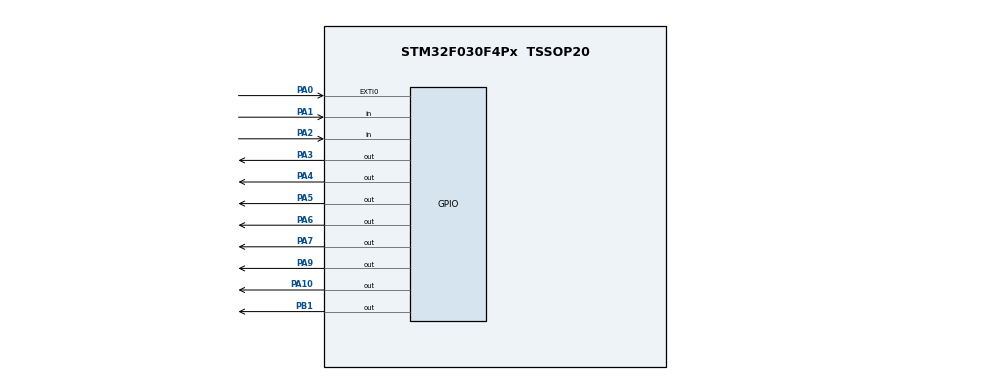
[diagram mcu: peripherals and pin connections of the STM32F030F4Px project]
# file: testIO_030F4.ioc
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Mcu.Family=STM32F0
Mcu.Name=STM32F030F4Px
Mcu.Package=TSSOP20
NVIC.EXTI0_1_IRQn=true\:0\:0\:false\:false\:true\:true\:true
NVIC.RCC_IRQn=true\:0\:0\:false\:false\:true\:true\:false
NVIC.TIM14_IRQn=true\:0\:0\:false\:false\:true\:true\:true
NVIC.TIM3_IRQn=true\:0\:0\:false\:false\:true\:true\:true
PA0.GPIO_ModeDefaultEXTI=GPIO_MODE_IT_RISING
PA0.Signal=GPXTI0
PA1.GPIO_PuPd=GPIO_PULLDOWN
PA1.Signal=GPIO_Input
PA10.PinState=GPIO_PIN_SET
PA10.Signal=GPIO_Output
PA13.Mode=Serial_Wire
PA13.Signal=SYS_SWDIO
PA14.Mode=Serial_Wire
PA14.Signal=SYS_SWCLK
PA2.GPIO_PuPd=GPIO_PULLDOWN
PA2.Signal=GPIO_Input
PA3.PinState=GPIO_PIN_SET
PA3.Signal=GPIO_Output
PA4.PinState=GPIO_PIN_SET
PA4.Signal=GPIO_Output
PA5.PinState=GPIO_PIN_SET
PA5.Signal=GPIO_Output
PA6.PinState=GPIO_PIN_SET
PA6.Signal=GPIO_Output
PA7.PinState=GPIO_PIN_SET
PA7.Signal=GPIO_Output
PA9.PinState=GPIO_PIN_SET
PA9.Signal=GPIO_Output
PB1.PinState=GPIO_PIN_SET
PB1.Signal=GPIO_Output
PF0-OSC_IN.Mode=HSE-External-Oscillator
PF0-OSC_IN.Signal=RCC_OSC_IN
PF1-OSC_OUT.Mode=HSE-External-Oscillator
PF1-OSC_OUT.Signal=RCC_OSC_OUT
ProjectManager.HeapSize=0x200
ProjectManager.StackSize=0x400
ProjectManager.TargetToolchain=STM32CubeIDE
TIM14.Period=999
TIM14.Prescaler=8000
TIM3.Period=9
TIM3.Prescaler=800
VP_TIM14_VS_ClockSourceINT.Mode=Enable_Timer
VP_TIM3_VS_ClockSourceINT.Mode=Internal
board=custom

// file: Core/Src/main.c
/* USER CODE BEGIN Header */
/**
  ******************************************************************************
  * @file           : main.c
  * @brief          : Main program body
  ******************************************************************************
  * @attention
  *
  * <h2><center>&copy; Copyright (c) 2020 STMicroelectronics.
  * All rights reserved.</center></h2>
  *
  * This software component is licensed by ST under BSD 3-Clause license,
  * the "License"; You may not use this file except in compliance with the
  * License. You may obtain a copy of the License at:
  *                        opensource.org/licenses/BSD-3-Clause
  *
  ******************************************************************************
  */
/* USER CODE END Header */

#include "main.h"

/* USER CODE BEGIN Includes */
#include "controller.h"
/* USER CODE END Includes */

TIM_HandleTypeDef htim3;
TIM_HandleTypeDef htim14;

/* USER CODE BEGIN PV */
extern uint8_t CLR_Button_flag;
extern uint8_t Pump_Status_flag;
extern uint8_t Input_Water_flag;
extern uint8_t CLR_PP1_flag;
extern uint8_t CLR_UDF_flag;
extern uint8_t CLR_PP2_flag;
extern uint8_t CLR_Ro_flag;
extern uint8_t machine_erro_flag;
extern uint8_t machine_out_timer1_flag;
extern uint8_t machine_out_timer2_flag;
extern uint8_t PP_out_timer_flag;
extern uint8_t UDF_out_timer_flag;
extern uint8_t PP2_out_timer_flag;
extern uint8_t Ro_out_timer_flag;
extern uint8_t machine_out_flag;
extern uint8_t Writte_data_fillter_flag;
extern uint8_t Led_tank_full_on_flag;
extern uint8_t Led_tank_full_off_flag;
extern uint8_t led_water_input_on_flag;
extern uint8_t led_water_input_off_flag;
extern uint8_t time_on_Input_Water_flag;
extern uint8_t time_on_Machine_out_flag;
extern uint8_t time_on_PP_flag;
extern uint8_t time_on_UDF_flag;
extern uint8_t time_on_PP2_flag;
extern uint8_t time_on_Ro_flag;
extern uint8_t led_fillter_flag;
uint8_t lock_led_erro;
uint8_t led_fan_action_cnt;

extern uint8_t Clr_Button_trigger;
extern uint8_t time_on_PP_out_trigger;
extern uint8_t time_on_UDF_out_trigger;
extern uint8_t time_on_PP2_out_trigger;
extern uint8_t time_on_Ro_out_trigger;
extern uint8_t dislay_erro_lock_trigger;
extern uint8_t	dislay_erro_lock_flag;
extern uint8_t watch_Dog_Trigger;
extern uint8_t watch_Dog_Flag;

uint32_t RO_time;
uint32_t PP2_time;
uint32_t PP1_time;
uint32_t UDF_time;
uint32_t Machine_time ;

/* USER CODE END PV */

void SystemClock_Config(void);
static void MX_GPIO_Init(void);
static void MX_TIM3_Init(void);
static void MX_TIM14_Init(void);
/* USER CODE BEGIN PFP */

void CLR_data(void);
void Dislay_erro(void);
void Writte_Flash(uint32_t, uint32_t);
uint32_t read_Flash(uint32_t );

void fillter_check(void);
void increase_time(uint8_t*);
void led_couter();
void led_fan_action(uint8_t*);

/* USER CODE END PFP */

/* USER CODE BEGIN 0 */
void increase_time(uint8_t* flag){
	if (*flag) {
		(RO_time)++;
		(PP2_time)++;
		(UDF_time)++;
		(PP1_time)++;
		(Machine_time)++;
		*flag=0;
	}
}

void Writte_flash(uint32_t start_Adress, uint32_t End_Adress){
	HAL_FLASH_Unlock();
			FLASH_EraseInitTypeDef EraseInitStruct;
			EraseInitStruct.TypeErase = FLASH_TYPEERASE_PAGES;
			EraseInitStruct.PageAddress = start_Adress;
			EraseInitStruct.NbPages = (End_Adress - start_Adress) / FLASH_PAGE_SIZE;
			uint32_t PAGEError = 0;
	HAL_FLASHEx_Erase(&EraseInitStruct, &PAGEError);
		HAL_FLASH_Program(FLASH_TYPEPROGRAM_WORD, start_Adress, PP1_time);
		HAL_FLASH_Program(FLASH_TYPEPROGRAM_WORD, start_Adress + 4, UDF_time);
		HAL_FLASH_Program(FLASH_TYPEPROGRAM_WORD, start_Adress + 8, PP2_time);
		HAL_FLASH_Program(FLASH_TYPEPROGRAM_WORD, start_Adress + 12, RO_time);
		HAL_FLASH_Lock();
}
uint32_t read_Flash(uint32_t addr){
	uint32_t Flash_data;
	Flash_data = *(uint32_t*) addr;
	return Flash_data;
}
void write_data_fillter(){
	if(Writte_data_fillter_flag){
		if((!HAL_GPIO_ReadPin(Pump_Status_Port, Pump_Status_Pin))){
			Writte_flash(0x08007000,0x08007C00);
			Writte_data_fillter_flag = 0;
		}
	}
}
void tank_full_led(){
	if(Led_tank_full_on_flag){
		if(!PP_out_timer_flag){
			HAL_GPIO_WritePin(Led_PP_Run_Port, Led_PP_Run_Pin, 0);
		}else{
			HAL_GPIO_WritePin(Led_PP_Run_Port, Led_PP_Run_Pin, 1);
		}
		if (!UDF_out_timer_flag) {
			HAL_GPIO_WritePin(Led_UDF_Run_Port, Led_UDF_Run_Pin, 0);
		}else {
			HAL_GPIO_WritePin(Led_UDF_Run_Port, Led_UDF_Run_Pin, 1);
			}
		if (!PP2_out_timer_flag) {
			HAL_GPIO_WritePin(Led_PP2_Run_Port, Led_PP2_Run_Pin, 0);
		}else {
			HAL_GPIO_WritePin(Led_PP2_Run_Port, Led_PP2_Run_Pin, 1);
			}
		if (!Ro_out_timer_flag) {
			HAL_GPIO_WritePin(Led_Ro_Run_Port, Led_Ro_Run_Pin, 0);
		}else {
			HAL_GPIO_WritePin(Led_Ro_Run_Port, Led_Ro_Run_Pin, 1);
			}
	}
	if(Led_tank_full_off_flag){
		HAL_GPIO_WritePin(Led_PP_Run_Port, Led_PP_Run_Pin, 1);
		HAL_GPIO_WritePin(Led_UDF_Run_Port, Led_UDF_Run_Pin, 1);
		HAL_GPIO_WritePin(Led_PP2_Run_Port, Led_PP2_Run_Pin, 1);
		HAL_GPIO_WritePin(Led_Ro_Run_Port, Led_Ro_Run_Pin, 1);
	}

}
void CLR_data(){
	if (CLR_Button_flag&&CLR_PP1_flag) {
		// clear value
			HAL_GPIO_WritePin(Led_PP_Erro_Port, Led_PP_Erro_Pin, 1);
			CLR_PP1_flag=0;
			CLR_Button_flag=0;
			PP_out_timer_flag=0;
			PP1_time = 0 ;
			Writte_flash(0x08007000,0x08007C00);
		}

	if (CLR_Button_flag&&CLR_UDF_flag){
			HAL_GPIO_WritePin(Led_UDF_Erro_Port, Led_UDF_Erro_Pin, 1);
			CLR_UDF_flag = 0;
			CLR_Button_flag=0;
			UDF_out_timer_flag=0;
			UDF_time = 0;
			Writte_flash(0x08007000,0x08007C00);
		}
	if (CLR_Button_flag&&CLR_PP2_flag){
			HAL_GPIO_WritePin(Led_PP2_Erro_Port, Led_PP2_Erro_Pin, 1);
			CLR_PP2_flag=0;
			CLR_Button_flag=0;
			PP2_out_timer_flag=0;
			PP2_time = 0;
			Writte_flash(0x08007000,0x08007C00);
		}
	if (CLR_Button_flag&&CLR_Ro_flag){
			HAL_GPIO_WritePin(Led_Ro_Erro_Port, Led_Ro_Erro_Pin, 1);
			CLR_Ro_flag=0;
			CLR_Button_flag=0;
			Ro_out_timer_flag=0;
			RO_time =0;
			Writte_flash(0x08007000,0x08007C00);
		}

}

void Dislay_erro(){
	if(Input_Water_flag){
		if(led_water_input_on_flag){
			HAL_GPIO_WritePin(Led_PP_Erro_Port, Led_PP_Erro_Pin, 0);
			HAL_GPIO_WritePin(Led_PP2_Erro_Port, Led_PP2_Erro_Pin, 1);
		}
		if(led_water_input_off_flag){
			HAL_GPIO_WritePin(Led_PP_Erro_Port, Led_PP_Erro_Pin, 1);
			HAL_GPIO_WritePin(Led_PP2_Erro_Port, Led_PP2_Erro_Pin, 0);
		}
		if(time_on_Input_Water_flag){
			Input_Water_flag = led_water_input_off_flag = led_water_input_on_flag = time_on_Input_Water_flag = 0;
			HAL_GPIO_WritePin(Led_PP2_Erro_Port, Led_PP2_Erro_Pin, 1);
			HAL_GPIO_WritePin(Led_PP_Erro_Port, Led_PP_Erro_Pin, 1);
		}
	}

	if (machine_out_flag&&(!Input_Water_flag)&&!(CLR_Ro_flag||CLR_PP2_flag||CLR_UDF_flag||CLR_PP1_flag)){
		if (machine_out_timer1_flag){
			HAL_GPIO_WritePin(Led_UDF_Erro_Port, Led_UDF_Erro_Pin, 0);
			HAL_GPIO_WritePin(Led_Ro_Erro_Port, Led_Ro_Erro_Pin, 1);
		}
		if (machine_out_timer2_flag){
			HAL_GPIO_WritePin(Led_PP2_Erro_Port, Led_PP2_Erro_Pin, 1);
			HAL_GPIO_WritePin(Led_Ro_Erro_Port, Led_Ro_Erro_Pin, 0);
		}
		if (time_on_Machine_out_flag){
			machine_out_flag = machine_out_timer1_flag = machine_out_timer2_flag = time_on_Machine_out_flag =0;
			HAL_GPIO_WritePin(Led_PP2_Erro_Port, Led_PP2_Erro_Pin, 1);
			HAL_GPIO_WritePin(Led_Ro_Erro_Port, Led_Ro_Erro_Pin, 1);
		}
	}

	if (PP_out_timer_flag&&(!Input_Water_flag)&&(!machine_out_flag)&&(!(CLR_Ro_flag||CLR_PP2_flag||CLR_UDF_flag||CLR_PP1_flag))) {
		time_on_PP_out_trigger =1;
			HAL_GPIO_WritePin(Led_PP_Erro_Port, Led_PP_Erro_Pin, 0);
			HAL_GPIO_WritePin(Led_PP_Run_Port, Led_PP_Run_Pin, 1);
		if(time_on_PP_flag){

			PP_out_timer_flag  = 0;
			time_on_PP_flag =0;
			time_on_PP_out_trigger =0;
		}
	}

	if (UDF_out_timer_flag&&(!Input_Water_flag)&(!machine_out_flag)&&(!(CLR_Ro_flag||CLR_PP2_flag||CLR_UDF_flag||CLR_PP1_flag))){
		time_on_UDF_out_trigger = 1;
			HAL_GPIO_WritePin(Led_UDF_Erro_Port, Led_UDF_Erro_Pin, 0);
			HAL_GPIO_WritePin(Led_UDF_Run_Port, Led_UDF_Run_Pin, 1);
		if(time_on_UDF_flag){

			UDF_out_timer_flag  = 0;
			time_on_UDF_flag = 0;
			time_on_UDF_out_trigger = 0;

		}
	}

	if (PP2_out_timer_flag&&(!Input_Water_flag)&&(!machine_out_flag)&&(!(CLR_Ro_flag||CLR_PP2_flag||CLR_UDF_flag||CLR_PP1_flag))) {
		time_on_PP2_out_trigger =1;
			HAL_GPIO_WritePin(Led_PP2_Erro_Port, Led_PP2_Erro_Pin, 0);
			HAL_GPIO_WritePin(Led_PP2_Run_Port, Led_PP2_Run_Pin, 1);
		if(time_on_PP2_flag){

			 PP2_out_timer_flag = 0;
			 time_on_PP2_flag = 0;
			 time_on_PP2_out_trigger =0;

		}
	}

	if (Ro_out_timer_flag&&(!Input_Water_flag)&&(!machine_out_flag)&&(!(CLR_Ro_flag||CLR_PP2_flag||CLR_UDF_flag||CLR_PP1_flag))) {
			time_on_Ro_out_trigger =1;
			HAL_GPIO_WritePin(Led_Ro_Erro_Port, Led_Ro_Erro_Pin, 0);
			HAL_GPIO_WritePin(Led_Ro_Run_Port, Led_Ro_Run_Pin, 1);
		if(time_on_Ro_flag){

			Ro_out_timer_flag = 0;
			time_on_Ro_flag = 0;
			time_on_Ro_out_trigger =0;

		}
	}
	if (!(Ro_out_timer_flag &PP2_out_timer_flag && UDF_out_timer_flag && PP_out_timer_flag&& machine_out_flag&& Input_Water_flag)&&(!(CLR_Ro_flag||CLR_PP2_flag||CLR_UDF_flag||CLR_PP1_flag))) {
		HAL_GPIO_WritePin(Led_Ro_Erro_Port, Led_Ro_Erro_Pin, 1);
		HAL_GPIO_WritePin(Led_PP2_Erro_Port, Led_PP2_Erro_Pin, 1);
		HAL_GPIO_WritePin(Led_UDF_Erro_Port, Led_UDF_Erro_Pin, 1);
		HAL_GPIO_WritePin(Led_PP_Erro_Port, Led_PP_Erro_Pin, 1);
		dislay_erro_lock_trigger =1 ;
		if (dislay_erro_lock_flag){
			dislay_erro_lock_trigger =0;
			dislay_erro_lock_flag= 0;
		}
	}

}

void fillter_check (){
	if (((!(HAL_GPIO_ReadPin(Input_water_Status_Port, Input_water_Pin))&(!lock_led_erro)))){
		Input_Water_flag = 1;
	}

	if ((Machine_time >= Machine_check_time)&(!lock_led_erro)){
			machine_out_flag = 1;
			if((!HAL_GPIO_ReadPin(Pump_Status_Port, Pump_Status_Pin))){
				Machine_time = 0;
				machine_out_flag = 0;
			}
		}

	if ((PP1_time >= PP_Check_Time)&(!lock_led_erro)) {
		PP_out_timer_flag =1;
	}
	if ((UDF_time >= UDF_Check_Time)&(!lock_led_erro)) {
		UDF_out_timer_flag = 1;
	}
	if ((PP2_time >= PP2_Check_Time) &(!lock_led_erro)){
		PP2_out_timer_flag = 1;
	}
	if ((RO_time >= RO_Check_Time)&(!lock_led_erro)){
		Ro_out_timer_flag = 1;
	}

	if(Input_Water_flag||machine_out_flag||PP_out_timer_flag||UDF_out_timer_flag||PP2_out_timer_flag||Ro_out_timer_flag||dislay_erro_lock_trigger){
		lock_led_erro = 1;
	}else{
		lock_led_erro = 0;

	}

}

void led_fan_action(uint8_t* led_fan_flag){
	if(*led_fan_flag){
	(led_fan_action_cnt++);
	*led_fan_flag =0;
	if(led_fan_action_cnt == 1){
		HAL_GPIO_TogglePin(Led_PP_Run_Port, Led_PP_Run_Pin);
	}
	if(led_fan_action_cnt == 2){
			HAL_GPIO_TogglePin(Led_UDF_Run_Port, Led_UDF_Run_Pin);
		}
	if(led_fan_action_cnt == 3){

				HAL_GPIO_TogglePin(Led_PP2_Run_Port, Led_PP2_Run_Pin);
			}
	if(led_fan_action_cnt == 4){

		HAL_GPIO_TogglePin(Led_Ro_Run_Port,Led_Ro_Run_Pin);

	}
	if(led_fan_action_cnt >=5 ){
		led_fan_action_cnt =0;
		}

	}
}

void led_couter(){

	if(CLR_PP1_flag&(!CLR_Button_flag)){
		HAL_GPIO_WritePin(Led_PP_Erro_Port, Led_PP_Erro_Pin, 0);
		HAL_GPIO_WritePin(Led_UDF_Erro_Port, Led_UDF_Erro_Pin, 1);
		HAL_GPIO_WritePin(Led_PP2_Erro_Port, Led_PP2_Erro_Pin, 1);
		HAL_GPIO_WritePin(Led_Ro_Erro_Port, Led_Ro_Erro_Pin, 1);
	}
	if(CLR_UDF_flag&(!CLR_Button_flag)){
		HAL_GPIO_WritePin(Led_UDF_Erro_Port, Led_UDF_Erro_Pin, 0);
		HAL_GPIO_WritePin(Led_PP_Erro_Port, Led_PP_Erro_Pin, 1);
		HAL_GPIO_WritePin(Led_PP2_Erro_Port, Led_PP2_Erro_Pin, 1);
		HAL_GPIO_WritePin(Led_Ro_Erro_Port, Led_Ro_Erro_Pin, 1);
	}
	if(CLR_PP2_flag&(!CLR_Button_flag)){
		HAL_GPIO_WritePin(Led_PP2_Erro_Port, Led_PP2_Erro_Pin, 0);
		HAL_GPIO_WritePin(Led_PP_Erro_Port, Led_PP_Erro_Pin, 1);
		HAL_GPIO_WritePin(Led_UDF_Erro_Port, Led_UDF_Erro_Pin, 1);
		HAL_GPIO_WritePin(Led_Ro_Erro_Port, Led_Ro_Erro_Pin, 1);
	}
	if(CLR_Ro_flag&(!CLR_Button_flag)){
		HAL_GPIO_WritePin(Led_Ro_Erro_Port, Led_Ro_Erro_Pin, 0);
		HAL_GPIO_WritePin(Led_UDF_Erro_Port, Led_UDF_Erro_Pin, 1);
		HAL_GPIO_WritePin(Led_PP2_Erro_Port, Led_PP2_Erro_Pin, 1);
		HAL_GPIO_WritePin(Led_PP_Erro_Port, Led_PP_Erro_Pin, 1);
	}
	if(Clr_Button_trigger&!(CLR_PP2_flag||CLR_Ro_flag||CLR_UDF_flag||CLR_PP1_flag)){
		HAL_GPIO_WritePin(Led_UDF_Erro_Port, Led_UDF_Erro_Pin, 1);
		HAL_GPIO_WritePin(Led_PP2_Erro_Port, Led_PP2_Erro_Pin, 1);
		HAL_GPIO_WritePin(Led_PP_Erro_Port, Led_PP_Erro_Pin, 1);
		HAL_GPIO_WritePin(Led_Ro_Erro_Port, Led_Ro_Erro_Pin, 1);
		Clr_Button_trigger = 0;
	}
}
/* USER CODE END 0 */

int main(void)
{

  /* MCU Configuration--------------------------------------------------------*/

  /* Reset of all peripherals, Initializes the Flash interface and the Systick. */
  HAL_Init();

  /* Configure the system clock */
  SystemClock_Config();

  /* Initialize all configured peripherals */
  MX_GPIO_Init();
  MX_TIM3_Init();
  MX_TIM14_Init();
  /* USER CODE BEGIN 2 */
  	HAL_TIM_Base_Start_IT(&htim3);
    HAL_TIM_Base_Start_IT(&htim14);
    PP1_time = read_Flash(0x08007000);
    UDF_time = read_Flash(0x08007000 + 4);
    PP2_time = read_Flash(0x08007000 + 8);
    RO_time = read_Flash(0x08007000 + 12);
    watch_Dog_Trigger = 1;
//	IWDG->KR = 0xAAAA; // Writing 0xAAAA in the Key register prevents watchdog reset
//  	 IWDG->KR = 0xCCCC; // Start the independent watchdog timer

  /* USER CODE END 2 */

  /* Infinite loop */
  while (1)
  {

    /* USER CODE BEGIN 3 */
	  increase_time(&Pump_Status_flag);
	  tank_full_led();
	  led_couter();
	  CLR_data();
	  fillter_check();
	  Dislay_erro();
	  led_fan_action(&led_fillter_flag);
	  write_data_fillter();
//	  if(watch_Dog_Flag){
//	 	  HAL_IWDG_Refresh(&hiwdg);
//	 	  watch_Dog_Flag =0;
//	 	  }

  }
  /* USER CODE END 3 */
}

void SystemClock_Config(void)
{
  RCC_OscInitTypeDef RCC_OscInitStruct = {0};
  RCC_ClkInitTypeDef RCC_ClkInitStruct = {0};

  /** Initializes the CPU, AHB and APB busses clocks
  */
  RCC_OscInitStruct.OscillatorType = RCC_OSCILLATORTYPE_HSI;
  RCC_OscInitStruct.HSIState = RCC_HSI_ON;
  RCC_OscInitStruct.HSICalibrationValue = RCC_HSICALIBRATION_DEFAULT;
  RCC_OscInitStruct.PLL.PLLState = RCC_PLL_NONE;
  if (HAL_RCC_OscConfig(&RCC_OscInitStruct) != HAL_OK)
  {
    Error_Handler();
  }
  /** Initializes the CPU, AHB and APB busses clocks
  */
  RCC_ClkInitStruct.ClockType = RCC_CLOCKTYPE_HCLK|RCC_CLOCKTYPE_SYSCLK
                              |RCC_CLOCKTYPE_PCLK1;
  RCC_ClkInitStruct.SYSCLKSource = RCC_SYSCLKSOURCE_HSI;
  RCC_ClkInitStruct.AHBCLKDivider = RCC_SYSCLK_DIV1;
  RCC_ClkInitStruct.APB1CLKDivider = RCC_HCLK_DIV1;

  if (HAL_RCC_ClockConfig(&RCC_ClkInitStruct, FLASH_LATENCY_0) != HAL_OK)
  {
    Error_Handler();
  }
}

static void MX_TIM3_Init(void)
{

  TIM_ClockConfigTypeDef sClockSourceConfig = {0};
  TIM_MasterConfigTypeDef sMasterConfig = {0};

  htim3.Instance = TIM3;
  htim3.Init.Prescaler = 800;
  htim3.Init.CounterMode = TIM_COUNTERMODE_UP;
  htim3.Init.Period = 9;
  htim3.Init.ClockDivision = TIM_CLOCKDIVISION_DIV1;
  htim3.Init.AutoReloadPreload = TIM_AUTORELOAD_PRELOAD_DISABLE;
  if (HAL_TIM_Base_Init(&htim3) != HAL_OK)
  {
    Error_Handler();
  }
  sClockSourceConfig.ClockSource = TIM_CLOCKSOURCE_INTERNAL;
  if (HAL_TIM_ConfigClockSource(&htim3, &sClockSourceConfig) != HAL_OK)
  {
    Error_Handler();
  }
  sMasterConfig.MasterOutputTrigger = TIM_TRGO_RESET;
  sMasterConfig.MasterSlaveMode = TIM_MASTERSLAVEMODE_DISABLE;
  if (HAL_TIMEx_MasterConfigSynchronization(&htim3, &sMasterConfig) != HAL_OK)
  {
    Error_Handler();
  }

}

static void MX_TIM14_Init(void)
{

  htim14.Instance = TIM14;
  htim14.Init.Prescaler = 8000;
  htim14.Init.CounterMode = TIM_COUNTERMODE_UP;
  htim14.Init.Period = 999;
  htim14.Init.ClockDivision = TIM_CLOCKDIVISION_DIV1;
  htim14.Init.AutoReloadPreload = TIM_AUTORELOAD_PRELOAD_DISABLE;
  if (HAL_TIM_Base_Init(&htim14) != HAL_OK)
  {
    Error_Handler();
  }

}

static void MX_GPIO_Init(void)
{
  GPIO_InitTypeDef GPIO_InitStruct = {0};

  /* GPIO Ports Clock Enable */
  __HAL_RCC_GPIOF_CLK_ENABLE();
  __HAL_RCC_GPIOA_CLK_ENABLE();
  __HAL_RCC_GPIOB_CLK_ENABLE();

  /*Configure GPIO pin Output Level */
  HAL_GPIO_WritePin(GPIOA, GPIO_PIN_3|GPIO_PIN_4|GPIO_PIN_5|GPIO_PIN_6
                          |GPIO_PIN_7|GPIO_PIN_9|GPIO_PIN_10, GPIO_PIN_SET);

  /*Configure GPIO pin Output Level */
  HAL_GPIO_WritePin(GPIOB, GPIO_PIN_1, GPIO_PIN_SET);

  /*Configure GPIO pin : PA0 */
  GPIO_InitStruct.Pin = GPIO_PIN_0;
  GPIO_InitStruct.Mode = GPIO_MODE_IT_RISING;
  GPIO_InitStruct.Pull = GPIO_NOPULL;
  HAL_GPIO_Init(GPIOA, &GPIO_InitStruct);

  /*Configure GPIO pins : PA1 PA2 */
  GPIO_InitStruct.Pin = GPIO_PIN_1|GPIO_PIN_2;
  GPIO_InitStruct.Mode = GPIO_MODE_INPUT;
  GPIO_InitStruct.Pull = GPIO_PULLDOWN;
  HAL_GPIO_Init(GPIOA, &GPIO_InitStruct);

  /*Configure GPIO pins : PA3 PA4 PA5 PA6
                           PA7 PA9 PA10 */
  GPIO_InitStruct.Pin = GPIO_PIN_3|GPIO_PIN_4|GPIO_PIN_5|GPIO_PIN_6
                          |GPIO_PIN_7|GPIO_PIN_9|GPIO_PIN_10;
  GPIO_InitStruct.Mode = GPIO_MODE_OUTPUT_PP;
  GPIO_InitStruct.Pull = GPIO_NOPULL;
  GPIO_InitStruct.Speed = GPIO_SPEED_FREQ_LOW;
  HAL_GPIO_Init(GPIOA, &GPIO_InitStruct);

  /*Configure GPIO pin : PB1 */
  GPIO_InitStruct.Pin = GPIO_PIN_1;
  GPIO_InitStruct.Mode = GPIO_MODE_OUTPUT_PP;
  GPIO_InitStruct.Pull = GPIO_NOPULL;
  GPIO_InitStruct.Speed = GPIO_SPEED_FREQ_LOW;
  HAL_GPIO_Init(GPIOB, &GPIO_InitStruct);

  /* EXTI interrupt init*/
  HAL_NVIC_SetPriority(EXTI0_1_IRQn, 0, 0);
  HAL_NVIC_EnableIRQ(EXTI0_1_IRQn);

}

void Error_Handler(void)
{
}

/************************ (C) COPYRIGHT STMicroelectronics *****END OF FILE****/
